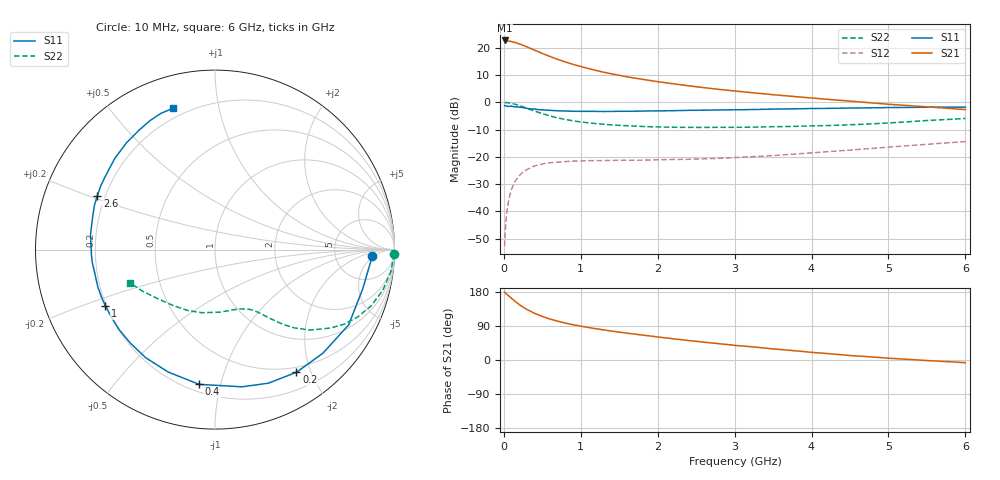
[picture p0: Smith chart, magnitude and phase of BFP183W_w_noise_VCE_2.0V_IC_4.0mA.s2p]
! Infineon Technologies  Discrete & RF Semiconductors
! BFP183W
! VCE =  2.0 V,  IC =  4.0 mA
! Common Emitter S-Parameters:  Jan 2017
# GHz  S  MA  R  50
!  f  S11  S21  S12  S22
! GHz  MAG  ANG  MAG  ANG  MAG  ANG  MAG  ANG
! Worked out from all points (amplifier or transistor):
!   77 points, 10 MHz to 6 GHz, reference 50 ohm
!   highest |S21| = 22.8 dB at 10 MHz (marker M1)
!   |S21| within 3 dB of that: start of sweep to 352.1 MHz
!   unconditionally stable (mu >= 1): 2.336 GHz to 4.843 GHz
!   at 130 MHz: K = 0.07, MSG = 26.0 dB, |S12| = -29.9 dB
!   at 2.2 GHz: K = 0.97, MSG = 13.9 dB, |S12| = -20.9 dB
!   at 6 GHz: K = 0.87, MSG = 5.9 dB, |S12| = -14.4 dB
!   lowest NFmin = 0.73 dB at 450 MHz
!   S11 on the Smith chart (normalised r, x): 10 MHz: 14, -4; 200 MHz: 0.43, -1.79; 400 MHz: 0.25, -0.86; 1 GHz: 0.20, -0.23; 2.6 GHz: 0.17, +0.21; 6 GHz: 0.15, +0.74
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0.01  0.8781 -2.3  13.73 179.4  0.0023 89.1  0.9986 -1.4
0.02  0.8619 -7.3  13.61 176.6  0.0047 92.0  0.9939 -2.9
0.04  0.8535 -12.3  13.5 173.1  0.0101 82.4  0.9893 -5.6
0.1  0.8547 -29.4  13.12 162.6  0.0255 74.7  0.962 -13.6
0.15  0.8335 -43.8  12.55 154.3  0.0363 67.8  0.9239 -19.9
0.2  0.8204 -56.4  11.89 146.4  0.0449 62.0  0.8788 -25.3
0.25  0.8016 -68.2  11.2 139.4  0.0533 55.8  0.8299 -30.1
0.3  0.7791 -78.9  10.45 133.3  0.0586 50.5  0.7805 -34.0
0.4  0.7558 -96.7  9.123 123.0  0.0684 42.9  0.6933 -40.3
0.5  0.7303 -110.9  7.922 114.9  0.0742 37.1  0.6215 -44.6
0.6  0.7156 -122.6  6.971 108.1  0.0782 32.6  0.5649 -47.6
0.7  0.7029 -132.0  6.167 102.4  0.0803 29.8  0.5203 -49.8
0.8  0.6961 -140.0  5.539 97.4  0.0822 27.9  0.4866 -51.6
1  0.6867 -152.7  4.564 89.3  0.0843 24.7  0.4384 -54.4
1.1  0.6856 -157.9  4.186 85.8  0.0853 24.1  0.4227 -55.6
1.6  0.6891 -177.8  2.957 70.8  0.087 22.5  0.3741 -62.4
2.1  0.7021 167.4  2.301 58.5  0.0891 25.0  0.3528 -71.1
2.6  0.7208 155.4  1.867 47.1  0.0921 28.4  0.3482 -81.7
3.1  0.7362 145.2  1.572 37.0  0.0989 32.7  0.3502 -92.6
4.1  0.7752 128.1  1.175 18.7  0.1215 38.7  0.3735 -116.5
5.1  0.8069 115.6  0.906 3.6  0.1549 39.9  0.4281 -141.8
6  0.8213 106.5  0.74 -7.1  0.191 36.9  0.5078 -158.6
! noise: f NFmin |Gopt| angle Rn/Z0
0.45  0.73  0.32  50  0.29
0.9  0.9  0.29  94  0.14
1.9  1.5  0.43  165  0.08
2.4  1.78  0.48  179  0.08
